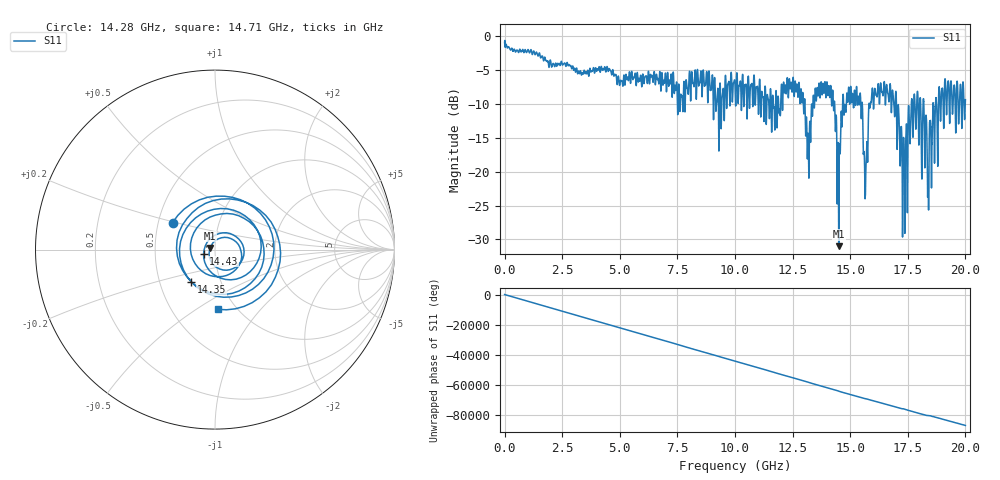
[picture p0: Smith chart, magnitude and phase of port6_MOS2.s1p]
! MS46122B
! 2250307/22442219
! 6/18/2025 7:55:03 AM
! C:\USERS\SPARKY\DOCUMENTS\VNA_DATA\JUNE18_2025\3.0K\PORT6_MOS2.S1P
! CHANNEL.1
! TR.MEASUREMENT
! RAW.DATA
# GHZ S RI R 50.0
! FREQ.GHZ  S11RE  S11IM
!; PortSelection: Port_1
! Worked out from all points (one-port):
!   10001 points, 1 MHz to 20 GHz, reference 50 ohm
!   lowest |S11| = -31.0 dB at 14.5 GHz (marker M1), VSWR 1.06, Z = 47.4 + j0.895 ohm
!   |S11| at or under -10 dB: 14.33 GHz to 14.67 GHz (344.5 MHz wide, 2.38 % of centre); 17.01 GHz to 17.66 GHz (649 MHz wide, 3.74 % of centre); 18.2 GHz to 18.59 GHz (399.2 MHz wide, 2.17 % of centre) (the widest 3 of 65)
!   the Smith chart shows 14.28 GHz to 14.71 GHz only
!   S11 on the Smith chart (normalised r, x): 14.28 GHz: 0.59, +0.19; 14.35 GHz: 0.72, -0.27; 14.43 GHz: 0.88, -0.04; 14.71 GHz: 0.82, -0.62
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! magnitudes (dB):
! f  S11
! 1 MHz  -1.0
! 2.501 GHz  -4.2
! 5.001 GHz  -7.2
! 7.501 GHz  -10.1
! 9.371 GHz  -8.4
! 10 GHz  -7.2
! 11.66 GHz  -10.2
! 12.5 GHz  -7.0
! 12.94 GHz  -8.4
! 13.2 GHz  -20.5
! 13.57 GHz  -7.6
! 14.28 GHz  -11.0
! 14.35 GHz  -13.0
! 14.43 GHz  -23.4
! 14.5 GHz  -31.0
! 14.71 GHz  -9.5
! 15 GHz  -8.5
! 15.44 GHz  -8.7
! 15.66 GHz  -22.7
! 15.89 GHz  -9.8
! 16.14 GHz  -8.8
! 16.91 GHz  -10.8
! 17.32 GHz  -15.4
! 17.5 GHz  -16.0
! 17.85 GHz  -13.5
! 18.44 GHz  -13.2
! 18.93 GHz  -12.0
! 20 GHz  -9.4
